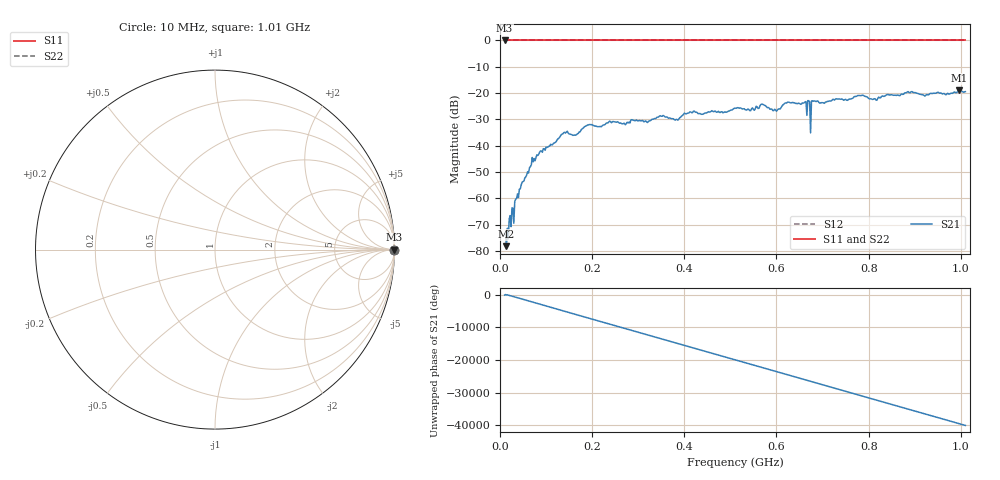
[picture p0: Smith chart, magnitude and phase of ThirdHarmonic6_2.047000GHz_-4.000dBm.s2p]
! 8/17/2025 12:32:30 AM
! C:\ANRITSUVNA\TEMP\TEMP.S2P
! CHANNEL.1
! TR.MEASUREMENT
! RAW.DATA
! RF.CORRECTION.OFF
! AVERAGING.OFF
! IF.BANDWIDTH: 5KHZ
! SWEEPTYPE:  FREQ.SWEEP(Linear)
! Reference Plane Port Info
! PORT:  PORT1  PORT2
! DISTANCE:  0  m  0  m
! TIME:  0  s  0  s
! PHASE.OFFSET:  0  deg.  0  deg.
! LOSS:  0  dB  0  dB
! REF.LOSS:  0  dB  0  dB
! REF.FREQ:  0  Hz  0  Hz
! Power Info
! POWER:  -20  dBm  -20  dBm
! EFF.POWER:  -20  dBm  -20  dBm
! SOURCE.ATTEN:  0  dB  0  dB
! TEST.ATTEN:  0  dB  0  dB
# GHZ S RI R 50.0
! FREQ.GHZ  S11RE  S11IM  S21RE  S21IM  S12RE  S12IM  S22RE  S22IM
!; PortSelection: Port_12
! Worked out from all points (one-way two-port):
!   501 points, 10 MHz to 1.01 GHz, reference 50 ohm
!   highest |S21| = -18.90 dB at 996 MHz (marker M1); lowest = -78.2 dB at 14 MHz (marker M2)
!   lowest |S11| = 0.0 dB at 10 MHz (marker M3)
!   |S11| at or under -10 dB: nowhere
!   |S22| runs from 0.0 to 0.0 dB; largest |S21 - S12| = 1.1
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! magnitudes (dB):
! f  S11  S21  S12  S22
! 10 MHz  0.0  -73.7  0.0  0.0
! 14 MHz  0.0  -78.2  0.0  0.0
! 36 MHz  0.0  -60.1  0.0  0.0
! 70 MHz  0.0  -44.5  0.0  0.0
! 136 MHz  0.0  -35.6  0.0  0.0
! 162 MHz  0.0  -36.0  0.0  0.0
! 178 MHz  0.0  -33.7  0.0  0.0
! 344 MHz  0.0  -29.1  0.0  0.0
! 384 MHz  0.0  -30.0  0.0  0.0
! 416 MHz  0.0  -27.5  0.0  0.0
! 510 MHz  0.0  -25.7  0.0  0.0
! 570 MHz  0.0  -24.3  0.0  0.0
! 596 MHz  0.0  -26.2  0.0  0.0
! 628 MHz  0.0  -23.5  0.0  0.0
! 660 MHz  0.0  -23.7  0.0  0.0
! 668 MHz  0.0  -22.9  0.0  0.0
! 670 MHz  0.0  -22.9  0.0  0.0
! 678 MHz  0.0  -22.9  0.0  0.0
! 680 MHz  0.0  -23.1  0.0  0.0
! 844 MHz  0.0  -20.7  0.0  0.0
! 996 MHz  0.0  -18.9  0.0  0.0
! 1.01 GHz  0.0  -19.5  0.0  0.0
